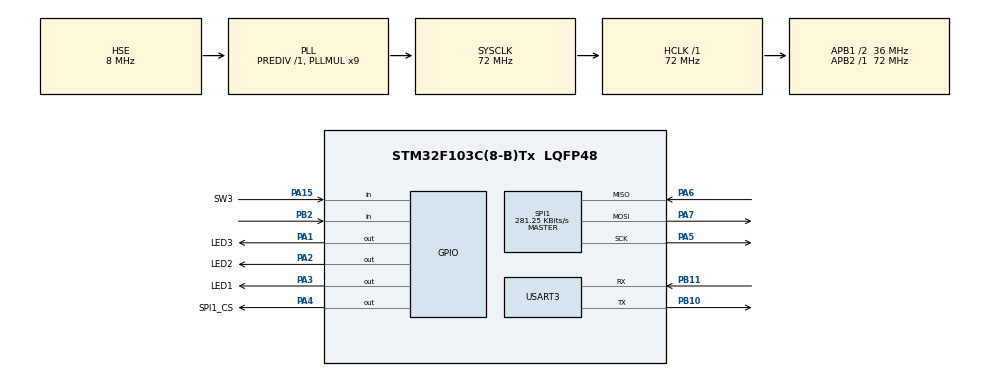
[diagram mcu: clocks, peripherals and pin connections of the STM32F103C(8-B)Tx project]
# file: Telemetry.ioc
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Mcu.Family=STM32F1
NVIC.USART3_IRQn=true\:0\:0\:false\:false\:true\:true\:true
RCC.PLLSourceVirtual=RCC_PLLSOURCE_HSE
PA6.Mode=Full_Duplex_Master
PA7.Mode=Full_Duplex_Master
FATFS._USE_LFN=1
PD1-OSC_OUT.Mode=HSE-External-Oscillator
SPI1.VirtualType=VM_MASTER
PB10.Mode=Asynchronous
PD0-OSC_IN.Signal=RCC_OSC_IN
RCC.APB1CLKDivider=RCC_HCLK_DIV2
PB11.Signal=USART3_RX
RCC.SYSCLKSource=RCC_SYSCLKSOURCE_PLLCLK
ProjectManager.StackSize=0x400
PD1-OSC_OUT.Signal=RCC_OSC_OUT
PA13.Signal=SYS_JTMS-SWDIO
PA15.GPIO_Label=SW3
PB11.Mode=Asynchronous
ProjectManager.TargetToolchain=Makefile
SPI1.Direction=SPI_DIRECTION_2LINES
RCC.HCLKFreq_Value=72000000
RCC.APB2TimFreq_Value=72000000
SPI1.CalculateBaudRate=281.25 KBits/s
RCC.USBFreq_Value=72000000
PA1.Signal=GPIO_Output
RCC.AHBFreq_Value=72000000
VP_FATFS_VS_Generic.Mode=User_defined
PD0-OSC_IN.Mode=HSE-External-Oscillator
PB10.Signal=USART3_TX
PA5.Signal=SPI1_SCK
PB2.Signal=GPIO_Input
board=custom
RCC.PLLMUL=RCC_PLL_MUL9
RCC.APB2Freq_Value=72000000
SPI1.Mode=SPI_MODE_MASTER
PA14.Mode=Serial_Wire
PA1.GPIO_Label=LED3
PA13.Mode=Serial_Wire
Mcu.Name=STM32F103C(8-B)Tx
PA2.Signal=GPIO_Output
PA4.Signal=GPIO_Output
RCC.SYSCLKFreq_VALUE=72000000
Mcu.Package=LQFP48
PA6.Signal=SPI1_MISO
USART3.VirtualMode=VM_ASYNC
PA2.GPIO_Label=LED2
PA14.Signal=SYS_JTCK-SWCLK
PA15.Signal=GPIO_Input
ProjectManager.HeapSize=0x200
NVIC.PriorityGroup=NVIC_PRIORITYGROUP_4
RCC.APB1TimFreq_Value=72000000
RCC.APB1Freq_Value=36000000
SPI1.BaudRatePrescaler=SPI_BAUDRATEPRESCALER_256
PA4.GPIO_Label=SPI1_CS
PA3.GPIO_Label=LED1
PA3.Signal=GPIO_Output
PA7.Signal=SPI1_MOSI
PA5.Mode=Full_Duplex_Master

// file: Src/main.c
/**
  ******************************************************************************
  * @file           : main.c
  * @brief          : Main program body
  ******************************************************************************
  * @attention
  *
  * <h2><center>&copy; Copyright (c) 2020 STMicroelectronics.
  * All rights reserved.</center></h2>
  *
  * This software component is licensed by ST under BSD 3-Clause license,
  * the "License"; You may not use this file except in compliance with the
  * License. You may obtain a copy of the License at:
  *                        opensource.org/licenses/BSD-3-Clause
  *
  ******************************************************************************
  */
#include "main.h"
#include "fatfs.h"
#include "spi_controller.h"
#include "led_controller.h"
#include "msg_lib.h"
#include "bus_controller.h"
#include <string.h>
#include <stdio.h>
#include <stdlib.h>
#include <time.h>

#define ML_TIMEOUT        0xA5
#define SD_CARD_FULL      0xA6
#define PAYLOAD_MAX_LEN   100
#define MOTOR_CONTROLLER  0x01
#define MOTOR_DRIVER      0x02

SPI_HandleTypeDef hspi1;
UART_HandleTypeDef huart3;

FATFS fs; // file system
FIL fil; // file object
FILINFO fno; // file info
uint8_t res = FR_NOT_READY; // to store the result

/* capacity related variables */
/* check capasity of the card */
FATFS *pfs;
DWORD fre_clust;
uint32_t total, free_space;

static uint8_t MC_Payload[PAYLOAD_MAX_LEN]; // MotorController data
static uint8_t MD_Payload[PAYLOAD_MAX_LEN]; // MotorDriver data
static uint8_t mc_received = false;
static uint8_t md_received = false;
static uint8_t offset_mc = 0;
static uint8_t offset_md = 0;

void SystemClock_Config(void);
static void MX_GPIO_Init(void);
static void MX_SPI1_Init(void);
static void MX_USART3_UART_Init(void);
void MSG_Received(uint8_t *, uint8_t);
void WriteDataToCard (void);

int main(void)
{

  /* MCU Configuration--------------------------------------------------------*/
  /* Reset of all peripherals, Initializes the Flash interface and the Systick. */
  HAL_Init();
  MX_GPIO_Init();
  MX_SPI1_Init();
  MX_FATFS_Init();
  MX_USART3_UART_Init();
  MSG_CrcInit();

  /* Configure the system clock */
  SystemClock_Config();

  while (1)
  {
    if (res == FR_NOT_READY) {
      // Mount and initialize card
      res = f_mount(&fs, "", 1);
      if (res != FR_OK) {
        Error_Handler();
        continue;
      }

      f_getfree("", &fre_clust, &pfs);
      total = (uint32_t)((pfs->n_fatent - 2) * pfs->csize * 0.5);
      free_space = (uint32_t)(fre_clust * pfs->csize * 0.5);
      if (free_space == 0 && total != 0) {
        res = SD_CARD_FULL;
        Error_Handler();
        continue;
      }

      res = f_open(&fil, "data_from_ride.txt", FA_CREATE_NEW|FA_WRITE);
      if (res == FR_EXIST) {
        res = FR_OK;
        continue;
      }
      if (f_puts("|--MC--|----MD----|\n", &fil) == -1) res = FR_DISK_ERR;
      f_close(&fil);
    }
    else if (res == FR_OK) {
      WriteDataToCard();
      Error_Handler();
    }
  }
}

// Receive cut frame [without addr and crc]
void MSG_Received(uint8_t *buff, uint8_t len)
{
  uint8_t cmd, p_len;
  cmd = buff[0];    // 2nd byte is CMD
  p_len = buff[1];  // 3rd byte is payload length

  if (cmd == MOTOR_CONTROLLER) {
    for (uint8_t byte = 0; byte < p_len; byte++)
      MC_Payload[offset_mc+byte] = buff[byte+2];
    mc_received = true;
    offset_mc += 4;
  }
  else if (cmd == MOTOR_DRIVER) {
    for (uint8_t byte = 0; byte < p_len; byte++)
      MD_Payload[offset_md+byte] = buff[byte+2];
    md_received = true;
    offset_md += 4;
  }
  if (offset_mc >= PAYLOAD_MAX_LEN)
    offset_mc = 0;
  if (offset_md >= PAYLOAD_MAX_LEN)
    offset_md = 0;
}

void WriteDataToCard (void)
{
  TCHAR data[40] = {0};
  // Data received from MotorController
  if (mc_received == true && md_received == true
     && offset_mc == 0 && offset_md == 0) {
    // volts, ampere, rpm
    uint8_t vol, amp;
    uint16_t rpm;
    uint8_t buttonA, buttonB, buttonC, buttonD;

    f_open(&fil, "data_from_ride.txt", FA_OPEN_ALWAYS|FA_WRITE);
    for (uint8_t pos=0; pos < PAYLOAD_MAX_LEN; pos+=4) {
      buttonA = MC_Payload[pos+0];
      buttonB = MC_Payload[pos+1];
      buttonC = MC_Payload[pos+2];
      buttonD = MC_Payload[pos+3];

      vol = MD_Payload[pos+0];
      amp = MD_Payload[pos+1];
      rpm = (uint16_t)(MD_Payload[pos+2]) << 8; // MSB
      rpm += (uint16_t)(MD_Payload[pos+3]);     // LSB

      sprintf(data, "%u-%u-%u-%u|%u-%u-%u\n", buttonA, buttonB, buttonC, buttonD, vol, amp, rpm);
      f_lseek(&fil, f_size(&fil));
      if (f_puts(data, &fil) == -1) res = FR_DISK_ERR;
    }
    f_close(&fil);

    mc_received = false;
    md_received = false;
  }
}

void SystemClock_Config(void)
{
  RCC_OscInitTypeDef RCC_OscInitStruct = {0};
  RCC_ClkInitTypeDef RCC_ClkInitStruct = {0};

  /** Initializes the RCC Oscillators according to the specified parameters
  * in the RCC_OscInitTypeDef structure.
  */
  RCC_OscInitStruct.OscillatorType = RCC_OSCILLATORTYPE_HSE;
  RCC_OscInitStruct.HSEState = RCC_HSE_ON;
  RCC_OscInitStruct.HSEPredivValue = RCC_HSE_PREDIV_DIV1;
  RCC_OscInitStruct.HSIState = RCC_HSI_ON;
  RCC_OscInitStruct.PLL.PLLState = RCC_PLL_ON;
  RCC_OscInitStruct.PLL.PLLSource = RCC_PLLSOURCE_HSE;
  RCC_OscInitStruct.PLL.PLLMUL = RCC_PLL_MUL9;
  if (HAL_RCC_OscConfig(&RCC_OscInitStruct) != HAL_OK)
  {
    Error_Handler();
  }
  /** Initializes the CPU, AHB and APB buses clocks
  */
  RCC_ClkInitStruct.ClockType = RCC_CLOCKTYPE_HCLK|RCC_CLOCKTYPE_SYSCLK
                              |RCC_CLOCKTYPE_PCLK1|RCC_CLOCKTYPE_PCLK2;
  RCC_ClkInitStruct.SYSCLKSource = RCC_SYSCLKSOURCE_PLLCLK;
  RCC_ClkInitStruct.AHBCLKDivider = RCC_SYSCLK_DIV1;
  RCC_ClkInitStruct.APB1CLKDivider = RCC_HCLK_DIV2;
  RCC_ClkInitStruct.APB2CLKDivider = RCC_HCLK_DIV1;

  if (HAL_RCC_ClockConfig(&RCC_ClkInitStruct, FLASH_LATENCY_2) != HAL_OK)
  {
    Error_Handler();
  }
}

static void MX_SPI1_Init(void)
{
  /* SPI1 parameter configuration*/
  hspi1.Instance = SPI1;
  hspi1.Init.Mode = SPI_MODE_MASTER;
  hspi1.Init.Direction = SPI_DIRECTION_2LINES;
  hspi1.Init.DataSize = SPI_DATASIZE_8BIT;
  hspi1.Init.CLKPolarity = SPI_POLARITY_LOW;
  hspi1.Init.CLKPhase = SPI_PHASE_1EDGE;
  hspi1.Init.NSS = SPI_NSS_SOFT;
  hspi1.Init.BaudRatePrescaler = SPI_BAUDRATEPRESCALER_32;
  hspi1.Init.FirstBit = SPI_FIRSTBIT_MSB;
  hspi1.Init.TIMode = SPI_TIMODE_DISABLE;
  hspi1.Init.CRCCalculation = SPI_CRCCALCULATION_DISABLE;
  hspi1.Init.CRCPolynomial = 10;
  if (HAL_SPI_Init(&hspi1) != HAL_OK)
  {
    Error_Handler();
  }
}

static void MX_USART3_UART_Init(void)
{
  huart3.Instance = USART3;
  huart3.Init.BaudRate = 17050;
  huart3.Init.WordLength = UART_WORDLENGTH_8B;
  huart3.Init.StopBits = UART_STOPBITS_1;
  huart3.Init.Parity = UART_PARITY_NONE;
  huart3.Init.Mode = UART_MODE_RX;
  huart3.Init.HwFlowCtl = UART_HWCONTROL_NONE;
  huart3.Init.OverSampling = UART_OVERSAMPLING_16;
  if (HAL_UART_Init(&huart3) != HAL_OK)
  {
    Error_Handler();
  }
}

static void MX_GPIO_Init(void)
{
  GPIO_InitTypeDef GPIO_InitStruct = {0};

  /* GPIO Ports Clock Enable */
  __HAL_RCC_GPIOD_CLK_ENABLE();
  __HAL_RCC_GPIOA_CLK_ENABLE();
  __HAL_RCC_GPIOB_CLK_ENABLE();

  /*Configure GPIO pin Output Level */
  LED_Init(GPIO_InitStruct);
  HAL_GPIO_WritePin(GPIOA, SPI1_CS_Pin, GPIO_PIN_RESET);

  /*Configure GPIO pin : SPI1_CS_Pin */
  GPIO_InitStruct.Pin = SPI1_CS_Pin;
  GPIO_InitStruct.Mode = GPIO_MODE_OUTPUT_PP;
  GPIO_InitStruct.Pull = GPIO_NOPULL;
  GPIO_InitStruct.Speed = GPIO_SPEED_FREQ_LOW;
  HAL_GPIO_Init(GPIOA, &GPIO_InitStruct);

  /*Configure GPIO pin : PB2 */
  GPIO_InitStruct.Pin = GPIO_PIN_2;
  GPIO_InitStruct.Mode = GPIO_MODE_INPUT;
  GPIO_InitStruct.Pull = GPIO_NOPULL;
  HAL_GPIO_Init(GPIOB, &GPIO_InitStruct);

  /*Configure GPIO pin : SW3_Pin */
  GPIO_InitStruct.Pin = SW3_Pin;
  GPIO_InitStruct.Mode = GPIO_MODE_INPUT;
  GPIO_InitStruct.Pull = GPIO_NOPULL;
  HAL_GPIO_Init(SW3_GPIO_Port, &GPIO_InitStruct);

}

void Error_Handler(void)
{
  /* USER CODE BEGIN Error_Handler_Debug */
  /* User can add his own implementation to report the HAL error return state */
  switch (res)
  {
  case FR_OK:
    LED_DisplayStatus(0);
    break;
  case FR_NOT_READY:
    LED_DisplayStatus(SD_CARD_NOT_EXIST);
    break;
  case FR_NOT_ENABLED:
    LED_DisplayStatus(SD_CARD_NOT_MOUNTED);
    break;
  case FR_DISK_ERR:
    LED_DisplayStatus(SD_CARD_READ_WRITE_ERR);
    break;
  case SD_CARD_FULL:
    LED_DisplayStatus(SD_CARD_NO_FREE_SPACE);
    break;
  case ML_TIMEOUT:
    LED_DisplayStatus(ML_READ_ERR);
    break;
  default:
    LED_DisplayStatus(UNDEFINED_ERR);
    break;
  }
  /* USER CODE END Error_Handler_Debug */
}
/************************ (C) COPYRIGHT STMicroelectronics *****END OF FILE****/
